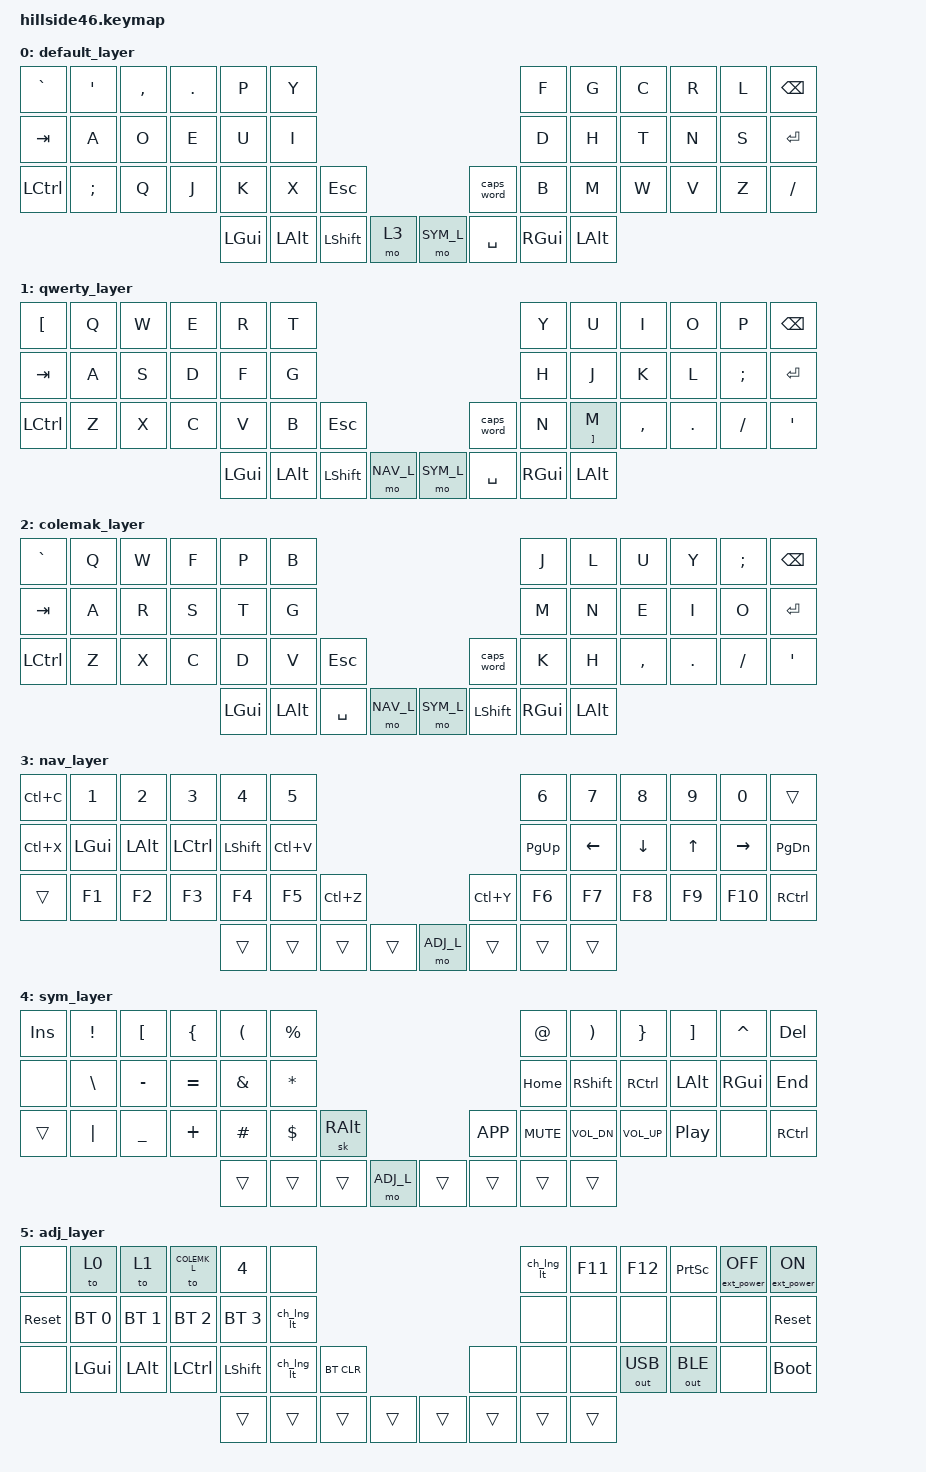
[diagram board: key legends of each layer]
/*
 * Copyright (c) 2021-2022 The ZMK Contributors
 *
 * SPDX-License-Identifier: MIT
 */

#include <behaviors.dtsi>
#include <dt-bindings/zmk/bt.h>
#include <dt-bindings/zmk/ext_power.h>
#include <dt-bindings/zmk/keys.h>
#include <dt-bindings/zmk/outputs.h>

#define DVORAK_L 0
#define QWERTY_L 1
#define COLEMK_L 2
#define NAV_L    3
#define SYM_L    4
#define ADJ_L    5
#define Undo   LC(Z)
#define Cut    LC(X)
#define Copy   LC(C)
#define Paste  LC(V)
#define Redo   LC(Y)

/ {
    macros {
        ch_lng_lt: ch_lng_lt {
            label = "CH_LNG_LT";
            compatible = "zmk,behavior-macro";
            #binding-cells = <0>;
            wait-ms = <20>;
            tap-ms = <20>;
            bindings =
                <&macro_press>,
                <&tog 1 &kp LSHIFT>,
                <&macro_tap>,
                <&kp LALT>,
                <&macro_pause_for_release>,
                <&macro_release>,
                <&tog 1 &kp LSHIFT>;
        };
    };
};

/ {
    behaviors {
        td: tapdance {
            compatible = "zmk,behavior-hold-tap";
            label = "TAPDANCE";
            bindings = <&kp>, <&kp>;

            #binding-cells = <2>;
            tapping-term-ms = <150>;
            quick-tap-ms = <0>;
            flavor = "tap-preferred";
        };
    };

    combos { compatible = "zmk,combos"; };

    keymap {
        compatible = "zmk,keymap";

        default_layer {
            /* DVORAK
 * -------------------------------------------------------------------------------------------------------------------------------------
 * | `     |   '   |   ,   |   .   |   P   |   Y   |-----------------------------------|   F   |   G   |   C   |   R   |   L   | BKSPC |
 * | TAB   |   A   |   O   |   E   |   U   |   I   |-----------------------------------|   D   |   H   |   T   |   N   |   S   | ENTER |
 * | CTRL  |   ;   |   Q   |   J   |   K   |   X   |  ESC  |-------------------| CAPS  |   B   |   M   |   W   |   V   |   Z   |   /   |
 *                                 |  GUI  |  ALT  |SKSHIFT|  Nav  |---|  Sym  | SPACE |  ALT  |  GUI  |
 */

            bindings = <
&kp GRAVE  &kp SQT   &kp COMMA  &kp DOT  &kp P     &kp Y                                               &kp F     &kp G     &kp C  &kp R  &kp L  &kp BSPC
&kp TAB    &kp A     &kp O      &kp E    &kp U     &kp I                                               &kp D     &kp H     &kp T  &kp N  &kp S  &kp ENTER
&kp LCTRL  &kp SEMI  &kp Q      &kp J    &kp K     &kp X     &kp ESC                       &caps_word  &kp B     &kp M     &kp W  &kp V  &kp Z  &kp SLASH
                                         &kp LGUI  &kp LALT  &kp LSHIFT  &mo 3  &mo SYM_L  &kp SPACE   &kp RGUI  &kp LALT
            >;
        };

        qwerty_layer {
            /* QWERTY
 * -------------------------------------------------------------------------------------------------------------------------------------
 * | [     |   Q   |   W   |   E   |   R   |   T   |-----------------------------------|   Y   |   U   |   I   |   O   |   P   | BKSPC |
 * | TAB   |   A   |   S   |   D   |   F   |   G   |-----------------------------------|   H   |   J   |   K   |   L   |   ;   | ENTER |
 * | CTRL  |   Z   |   X   |   C   |   V   |   B   |  ESC  |-------------------|  CAPS |   N   |   M   |   ,   |   .   |   /   |   '   |
 *                                 |  GUI  |  ALT  |SKSHIFT|  Nav  |---|  Sym  | SPACE |  ALT  |  GUI  |
 */

            bindings = <
&kp LBKT   &kp Q  &kp W  &kp E  &kp R     &kp T                                                   &kp Y     &kp U       &kp I      &kp O    &kp P      &kp BSPC
&kp TAB    &kp A  &kp S  &kp D  &kp F     &kp G                                                   &kp H     &kp J       &kp K      &kp L    &kp SEMI   &kp ENTER
&kp LCTRL  &kp Z  &kp X  &kp C  &kp V     &kp B     &kp ESC                           &caps_word  &kp N     &td RBKT M  &kp COMMA  &kp DOT  &kp SLASH  &kp SQT
                                &kp LGUI  &kp LALT  &kp LSHIFT  &mo NAV_L  &mo SYM_L  &kp SPACE   &kp RGUI  &kp LALT
            >;
        };

        colemak_layer {
            /* COLEMAK-DH
 * -------------------------------------------------------------------------------------------------------------------------------------
 * | `     |   Q   |   W   |   F   |   P   |   B   |-----------------------------------|   J   |   L   |   U   |   Y   |   ;   | BKSPC |
 * | TAB   |   A   |   R   |   S   |   T   |   G   |-----------------------------------|   M   |   N   |   E   |   I   |   O   | ENTER |
 * | CTRL  |   Z   |   X   |   C   |   D   |   V   |  ESC  |-------------------| CAPS  |   K   |   H   |   ,   |   .   |   /   |   '   |
 *                                 |  GUI  |  ALT  | SPACE |  Nav  |---|  Sym  |SKSHIFT|  ALT  |  GUI  |
 */

            bindings = <
&kp GRAVE  &kp Q  &kp W  &kp F  &kp P     &kp B                                                  &kp J     &kp L     &kp U      &kp Y    &kp SEMI   &kp BSPC
&kp TAB    &kp A  &kp R  &kp S  &kp T     &kp G                                                  &kp M     &kp N     &kp E      &kp I    &kp O      &kp ENTER
&kp LCTRL  &kp Z  &kp X  &kp C  &kp D     &kp V     &kp ESC                          &caps_word  &kp K     &kp H     &kp COMMA  &kp DOT  &kp SLASH  &kp SQT
                                &kp LGUI  &kp LALT  &kp SPACE  &mo NAV_L  &mo SYM_L  &kp LSHIFT  &kp RGUI  &kp LALT
            >;
        };

        nav_layer {
            /* NAV   
 * -------------------------------------------------------------------------------------------------------------------------------------
 * | Copy  |   1   |   2   |   3   |   4   |   5   |-----------------------------------|   6   |   7   |   8   |   9   |   0   | BSPC  |
 * | Cut   |  GUI  |  Alt  | Ctrl  | Shift | Paste |-----------------------------------| PG UP |  Left |  Down |  Up   | Right | PG DN |
 * | Ctrl  |  F1   |  F2   |  F3   |  F4   |  F5   |  UnDo |-------------------| ReDo  |  F6   |  F7   |  F8   |  F9   |  F10  | Ctrl  |
 *                                 |       |       |       |       |---| ADJ_L |       |       |       |
 */

            bindings = <
&kp Copy  &kp N1    &kp N2    &kp N3     &kp N4     &kp N5                                            &kp N6     &kp N7    &kp N8    &kp N9  &kp N0     &trans
&kp Cut   &kp LGUI  &kp LALT  &kp LCTRL  &kp LSHFT  &kp Paste                                         &kp PG_UP  &kp LEFT  &kp DOWN  &kp UP  &kp RIGHT  &kp PG_DN
&trans    &kp F1    &kp F2    &kp F3     &kp F4     &kp F5     &kp Undo                     &kp Redo  &kp F6     &kp F7    &kp F8    &kp F9  &kp F10    &kp RCTRL
                                         &trans     &trans     &trans    &trans  &mo ADJ_L  &trans    &trans     &trans
            >;
        };

        sym_layer {
            /* SYM
 * -------------------------------------------------------------------------------------------------------------------------------------
 * | INS   |   !   |   [   |   {   |   (   |   %   |-----------------------------------|   @   |   )   |   }   |   ]   |   ^   | BSPC  |
 * |       |   \   |   -   |   =   |   &   |   *   |-----------------------------------| HOME  | Shift | Ctrl  | Alt   | Gui   | END   |
 * | Ctrl  |   |   |   _   |   +   |   #   |   $   |SkAltGr|-------------------| MENU  | Mute  | Vol-  | Vol+  | Play  |       | Ctrl  |
 *                                 |       |       |       |  ADJ_L |---|      |       |       |       |
 */

            bindings = <
&kp INS  &kp EXCL  &kp LBKT   &kp LBRC   &kp LPAR  &kp PERCENT                                          &kp AT      &kp RPAR      &kp RBRC      &kp RBKT  &kp CARET  &kp DEL
&none    &kp BSLH  &kp MINUS  &kp EQUAL  &kp AMPS  &kp ASTRK                                            &kp HOME    &kp RSHFT     &kp RCTRL     &kp LALT  &kp RGUI   &kp END
&trans   &kp PIPE  &kp UNDER  &kp PLUS   &kp HASH  &kp DOLLAR   &sk RALT                     &kp K_APP  &kp C_MUTE  &kp C_VOL_DN  &kp C_VOL_UP  &kp C_PP  &none      &kp RCTRL
                                         &trans    &trans       &trans    &mo ADJ_L  &trans  &trans     &trans      &trans
            >;
        };

        adj_layer {
            /* ADJUST
 * -------------------------------------------------------------------------------------------------------------------------------------
 * |       | DVORAK| QWERTY| COLEMK|       |       |-----------------------------------|       |  F11  |  F12  |Prt Scr|EP_OFF | EP_ON |
 * | RESET | BT 0  | BT 1  | BT 2  | BT 3  | BT 4  |-----------------------------------|       |       |       |       |       | RESET |
 * |       | LGUI  | LALT  | LCTRL | LSHIFT|       |BT CLR |-------------------|       |       |       |OUT_USB|OUT_BLE|       | BOOTL |
 *                                 |       |       |       |       |---|       |       |       |       |
 */

            bindings = <
&none       &to 0         &to 1         &to COLEMK_L  &kp NUMBER_4  &none                                           &ch_lng_lt  &kp F11  &kp F12       &kp PRINTSCREEN  &ext_power EP_OFF  &ext_power EP_ON
&sys_reset  &bt BT_SEL 0  &bt BT_SEL 1  &bt BT_SEL 2  &bt BT_SEL 3  &ch_lng_lt                                      &none       &none    &none         &none            &none              &sys_reset
&none       &kp LGUI      &kp LALT      &kp LCTRL     &kp LSHIFT    &ch_lng_lt  &bt BT_CLR                  &none   &none       &none    &out OUT_USB  &out OUT_BLE     &none              &bootloader
                                                      &trans        &trans      &trans      &trans  &trans  &trans  &trans      &trans
            >;
        };
    };
};
